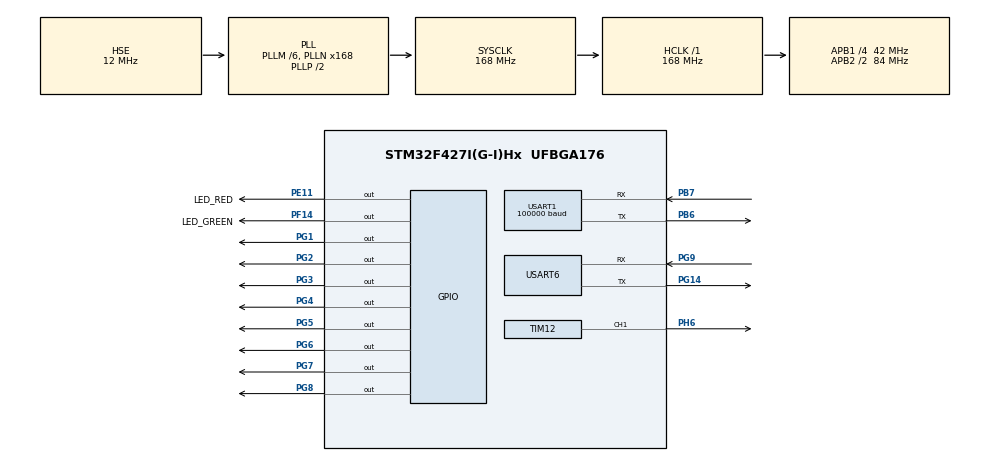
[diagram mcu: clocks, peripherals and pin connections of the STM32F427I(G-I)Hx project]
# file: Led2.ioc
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Dma.Request0=USART1_RX
Dma.USART1_RX.0.Direction=DMA_PERIPH_TO_MEMORY
Dma.USART1_RX.0.FIFOMode=DMA_FIFOMODE_DISABLE
Dma.USART1_RX.0.Instance=DMA2_Stream2
Dma.USART1_RX.0.MemDataAlignment=DMA_MDATAALIGN_BYTE
Dma.USART1_RX.0.MemInc=DMA_MINC_ENABLE
Dma.USART1_RX.0.Mode=DMA_CIRCULAR
Dma.USART1_RX.0.PeriphDataAlignment=DMA_PDATAALIGN_BYTE
Dma.USART1_RX.0.PeriphInc=DMA_PINC_DISABLE
Dma.USART1_RX.0.Priority=DMA_PRIORITY_LOW
Mcu.Family=STM32F4
Mcu.Name=STM32F427I(G-I)Hx
Mcu.Package=UFBGA176
NVIC.DMA2_Stream2_IRQn=true\:0\:0\:false\:false\:true\:false\:true\:true
NVIC.PriorityGroup=NVIC_PRIORITYGROUP_4
NVIC.USART1_IRQn=true\:0\:0\:false\:false\:true\:true\:true\:true
NVIC.USART6_IRQn=true\:0\:0\:false\:false\:true\:true\:true\:true
PA13.Mode=Serial_Wire
PA13.Signal=SYS_JTMS-SWDIO
PA14.Mode=Serial_Wire
PA14.Signal=SYS_JTCK-SWCLK
PB6.Mode=Asynchronous
PB6.Signal=USART1_TX
PB7.Mode=Asynchronous
PB7.Signal=USART1_RX
PE11.GPIO_Label=LED_RED
PE11.GPIO_PuPd=GPIO_PULLUP
PE11.Signal=GPIO_Output
PF14.GPIO_Label=LED_GREEN
PF14.GPIO_PuPd=GPIO_PULLUP
PF14.Signal=GPIO_Output
PG1.GPIO_PuPd=GPIO_PULLUP
PG1.Signal=GPIO_Output
PG14.Mode=Asynchronous
PG14.Signal=USART6_TX
PG2.GPIO_PuPd=GPIO_PULLUP
PG2.Signal=GPIO_Output
PG3.GPIO_PuPd=GPIO_PULLUP
PG3.Signal=GPIO_Output
PG4.GPIO_PuPd=GPIO_PULLUP
PG4.Signal=GPIO_Output
PG5.GPIO_PuPd=GPIO_PULLUP
PG5.Signal=GPIO_Output
PG6.GPIO_PuPd=GPIO_PULLUP
PG6.Signal=GPIO_Output
PG7.GPIO_PuPd=GPIO_PULLUP
PG7.Signal=GPIO_Output
PG8.GPIO_PuPd=GPIO_PULLUP
PG8.Signal=GPIO_Output
PG9.Mode=Asynchronous
PG9.Signal=USART6_RX
PH0/OSC_IN.Mode=HSE-External-Oscillator
PH0/OSC_IN.Signal=RCC_OSC_IN
PH1/OSC_OUT.Mode=HSE-External-Oscillator
PH1/OSC_OUT.Signal=RCC_OSC_OUT
PH6.Signal=S_TIM12_CH1
ProjectManager.HeapSize=0x200
ProjectManager.StackSize=0x400
ProjectManager.TargetToolchain=CMake
RCC.48MHZClocksFreq_Value=84000000
RCC.AHBFreq_Value=168000000
RCC.APB1CLKDivider=RCC_HCLK_DIV4
RCC.APB1Freq_Value=42000000
RCC.APB1TimFreq_Value=84000000
RCC.APB2CLKDivider=RCC_HCLK_DIV2
RCC.APB2Freq_Value=84000000
RCC.APB2TimFreq_Value=168000000
RCC.CortexFreq_Value=168000000
RCC.HCLKFreq_Value=168000000
RCC.HSE_VALUE=12000000
RCC.HSI_VALUE=16000000
RCC.LSE_VALUE=32768
RCC.PLLM=6
RCC.PLLN=168
RCC.PLLSourceVirtual=RCC_PLLSOURCE_HSE
RCC.SYSCLKFreq_VALUE=168000000
RCC.SYSCLKSource=RCC_SYSCLKSOURCE_PLLCLK
RCC.VCOOutputFreq_Value=336000000
SH.S_TIM12_CH1.0=TIM12_CH1,PWM Generation1 CH1
TIM12.Channel-PWM\ Generation1\ CH1=TIM_CHANNEL_1
TIM12.Period=1000
TIM12.Prescaler=83
TIM12.Pulse-PWM\ Generation1\ CH1=500
USART1.BaudRate=100000
USART1.Parity=PARITY_EVEN
USART1.VirtualMode=VM_ASYNC
USART6.VirtualMode=VM_ASYNC
board=RemoteControl

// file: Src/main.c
/**
  ******************************************************************************
  * @file           : main.c
  * @brief          : Main program body
  ******************************************************************************
  ** This notice applies to any and all portions of this file
  * that are not between comment pairs USER CODE BEGIN and
  * USER CODE END. Other portions of this file, whether
  * inserted by the user or by software development tools
  * are owned by their respective copyright owners.
  *
  * COPYRIGHT(c) 2026 STMicroelectronics
  *
  * Redistribution and use in source and binary forms, with or without modification,
  * are permitted provided that the following conditions are met:
  *   1. Redistributions of source code must retain the above copyright notice,
  *      this list of conditions and the following disclaimer.
  *   2. Redistributions in binary form must reproduce the above copyright notice,
  *      this list of conditions and the following disclaimer in the documentation
  *      and/or other materials provided with the distribution.
  *   3. Neither the name of STMicroelectronics nor the names of its contributors
  *      may be used to endorse or promote products derived from this software
  *      without specific prior written permission.
  *
  * THIS SOFTWARE IS PROVIDED BY THE COPYRIGHT HOLDERS AND CONTRIBUTORS "AS IS"
  * AND ANY EXPRESS OR IMPLIED WARRANTIES, INCLUDING, BUT NOT LIMITED TO, THE
  * IMPLIED WARRANTIES OF MERCHANTABILITY AND FITNESS FOR A PARTICULAR PURPOSE ARE
  * DISCLAIMED. IN NO EVENT SHALL THE COPYRIGHT HOLDER OR CONTRIBUTORS BE LIABLE
  * FOR ANY DIRECT, INDIRECT, INCIDENTAL, SPECIAL, EXEMPLARY, OR CONSEQUENTIAL
  * DAMAGES (INCLUDING, BUT NOT LIMITED TO, PROCUREMENT OF SUBSTITUTE GOODS OR
  * SERVICES; LOSS OF USE, DATA, OR PROFITS; OR BUSINESS INTERRUPTION) HOWEVER
  * CAUSED AND ON ANY THEORY OF LIABILITY, WHETHER IN CONTRACT, STRICT LIABILITY,
  * OR TORT (INCLUDING NEGLIGENCE OR OTHERWISE) ARISING IN ANY WAY OUT OF THE USE
  * OF THIS SOFTWARE, EVEN IF ADVISED OF THE POSSIBILITY OF SUCH DAMAGE.
  *
  ******************************************************************************
  */
#include "main.h"
#include "stm32f4xx_hal.h"
#include "dma.h"
#include "tim.h"
#include "usart.h"
#include "gpio.h"

/* USER CODE BEGIN PV */
/* Private variables ---------------------------------------------------------*/
#define M_DO  262
#define M_RE  294
#define M_MI  330
#define M_FA  349
#define M_SOL 392
#define M_LA  440
#define M_SI  494
#define M_DO_H 523
#define PAUSE 0

#define BEAT_1 400
#define BEAT_2 200
#define BEAT_4 100

int music_score[][2] = {
  {M_SI, BEAT_2}, {M_DO_H, BEAT_2}, {M_RE, BEAT_1},
  {M_SI, BEAT_2}, {M_DO_H, BEAT_2}, {M_RE, BEAT_1},
  {M_SI, BEAT_2}, {M_DO_H, BEAT_2}, {M_RE, BEAT_2}, {M_DO_H, BEAT_2}, {M_SI, BEAT_1},
  {M_LA, BEAT_1}, {M_SOL, BEAT_1},
  {M_SOL, BEAT_2}, {M_LA, BEAT_2}, {M_SI, BEAT_1},
  {PAUSE, BEAT_2}
};
uint8_t is_playing = 1; // 1=正在播放音乐, 0=音乐休息
uint32_t music_timer = 0; // 音乐计时
int music_index = 0;      // 当前播到第几个音符
uint32_t music_rest_timer = 0; // 音乐休息计时

uint32_t led_timer = 0;   // LED计时
uint8_t led_state = 0;    // 0=亮, 1=灭
int8_t led_index = 0;     // 当前灯索引
uint32_t led_delay_time = 100; // 灯变化间隔

/* USER CODE END PV */

void SystemClock_Config(void);

/* USER CODE BEGIN PFP */
/* Private function prototypes -----------------------------------------------*/

/* USER CODE END PFP */

int main(void)
{

  /* MCU Configuration----------------------------------------------------------*/

  /* Reset of all peripherals, Initializes the Flash interface and the Systick. */
  HAL_Init();

  /* Configure the system clock */
  SystemClock_Config();

  /* Initialize all configured peripherals */
  MX_GPIO_Init();
  MX_DMA_Init();
  MX_USART6_UART_Init();
  MX_USART1_UART_Init();
  MX_TIM12_Init();
  /* USER CODE BEGIN 2 */
  //HAL_TIM_PWM_Start(&htim12, TIM_CHANNEL_1);

    GPIO_TypeDef* LED_Port[8] = {GPIOG, GPIOG, GPIOG, GPIOG, GPIOG, GPIOG, GPIOG, GPIOG};
    uint16_t LED_Pin[8] = {GPIO_PIN_1, GPIO_PIN_2, GPIO_PIN_3, GPIO_PIN_4, GPIO_PIN_5, GPIO_PIN_6, GPIO_PIN_7,GPIO_PIN_8};

  /* USER CODE END 2 */

  /* Infinite loop */
  /* USER CODE BEGIN WHILE */

  while (1)
  {

    /* USER CODE BEGIN WHILE */
    uint32_t current_tick = HAL_GetTick(); // 获取当前时间

    /* ==================== 任务 1：播放音乐 ==================== */
    if (is_playing == 1) // 如果正在播放
    {
        // 检查当前音符是否唱完
        if (current_tick - music_timer >= music_score[music_index][1])
        {
            music_timer = current_tick; // 重置音乐计时
            music_index++;              // 下一个音符

            if (music_index < sizeof(music_score) / sizeof(music_score[0]))
            {
                // 播放下一个音符
                uint16_t freq = music_score[music_index][0];
                if (freq == 0) {
                    HAL_TIM_PWM_Stop(&htim12, TIM_CHANNEL_1); // 休止符
                } else {
                    uint32_t arr = 1000000 / freq - 1;
                    __HAL_TIM_SET_AUTORELOAD(&htim12, arr);
                    __HAL_TIM_SET_COMPARE(&htim12, TIM_CHANNEL_1, arr / 2);
                    HAL_TIM_PWM_Start(&htim12, TIM_CHANNEL_1);
                }
            }
            else
            {
                // 整首歌播完，进入休息状态
                HAL_TIM_PWM_Stop(&htim12, TIM_CHANNEL_1);
                is_playing = 0; // 标记为休息
                music_rest_timer = current_tick; // 记录休息开始时间
            }
        }
    }
    else // 如果正在休息
    {
        // 检查休息是否满2秒
        if (current_tick - music_rest_timer >= 500)
        {
            is_playing = 1;    // 重新开始播放
            music_index = 0;   // 乐谱从头开始
            music_timer = current_tick; // 重置计时
        }
    }

    /* ==================== 任务 2：LED 跑马灯 ==================== */
    // 如果时间到了，就改变灯的状态
    if (current_tick - led_timer >= led_delay_time)
    {
        led_timer = current_tick; // 重置LED计时器

        if (led_state == 0) // 点亮阶段
        {
            HAL_GPIO_WritePin(LED_Port[led_index], LED_Pin[led_index], GPIO_PIN_RESET); // 点亮当前灯
            led_index++;

            if (led_index > 7) { // 8个灯都点亮了
                led_state = 1;           // 切换到熄灭阶段
                led_index = 0;           // 重置索引，从第0个开始灭
                led_delay_time = 200;   // 全亮后先等1秒再开始灭
            }
        }
        else // 熄灭阶段
        {
            // 先熄灭当前灯
            HAL_GPIO_WritePin(LED_Port[led_index], LED_Pin[led_index], GPIO_PIN_SET);
            led_index++;

            if (led_index > 7) { // 8个灯都熄灭了
                led_state = 0;           // 回到点亮阶段
                led_index = 0;           // 重置索引，从第0个开始亮
                led_delay_time = 200;   // 全灭后先等1秒再开始亮
            } else {
                // 如果还在熄灭过程中，保持正常的500ms节奏
                led_delay_time = 200;
            }
        }
    }
  /* USER CODE END WHILE */

  }

}

void SystemClock_Config(void)
{

  RCC_OscInitTypeDef RCC_OscInitStruct;
  RCC_ClkInitTypeDef RCC_ClkInitStruct;

    /**Configure the main internal regulator output voltage
    */
  __HAL_RCC_PWR_CLK_ENABLE();

  __HAL_PWR_VOLTAGESCALING_CONFIG(PWR_REGULATOR_VOLTAGE_SCALE1);

    /**Initializes the CPU, AHB and APB busses clocks
    */
  RCC_OscInitStruct.OscillatorType = RCC_OSCILLATORTYPE_HSE;
  RCC_OscInitStruct.HSEState = RCC_HSE_ON;
  RCC_OscInitStruct.PLL.PLLState = RCC_PLL_ON;
  RCC_OscInitStruct.PLL.PLLSource = RCC_PLLSOURCE_HSE;
  RCC_OscInitStruct.PLL.PLLM = 6;
  RCC_OscInitStruct.PLL.PLLN = 168;
  RCC_OscInitStruct.PLL.PLLP = RCC_PLLP_DIV2;
  RCC_OscInitStruct.PLL.PLLQ = 4;
  if (HAL_RCC_OscConfig(&RCC_OscInitStruct) != HAL_OK)
  {
    _Error_Handler(__FILE__, __LINE__);
  }

    /**Initializes the CPU, AHB and APB busses clocks
    */
  RCC_ClkInitStruct.ClockType = RCC_CLOCKTYPE_HCLK|RCC_CLOCKTYPE_SYSCLK
                              |RCC_CLOCKTYPE_PCLK1|RCC_CLOCKTYPE_PCLK2;
  RCC_ClkInitStruct.SYSCLKSource = RCC_SYSCLKSOURCE_PLLCLK;
  RCC_ClkInitStruct.AHBCLKDivider = RCC_SYSCLK_DIV1;
  RCC_ClkInitStruct.APB1CLKDivider = RCC_HCLK_DIV4;
  RCC_ClkInitStruct.APB2CLKDivider = RCC_HCLK_DIV2;

  if (HAL_RCC_ClockConfig(&RCC_ClkInitStruct, FLASH_LATENCY_5) != HAL_OK)
  {
    _Error_Handler(__FILE__, __LINE__);
  }

    /**Configure the Systick interrupt time
    */
  HAL_SYSTICK_Config(HAL_RCC_GetHCLKFreq()/1000);

    /**Configure the Systick
    */
  HAL_SYSTICK_CLKSourceConfig(SYSTICK_CLKSOURCE_HCLK);

  /* SysTick_IRQn interrupt configuration */
  HAL_NVIC_SetPriority(SysTick_IRQn, 0, 0);
}

void _Error_Handler(char *file, int line)
{
  while(1)
  {
  }
}

/************************ (C) COPYRIGHT STMicroelectronics *****END OF FILE****/
